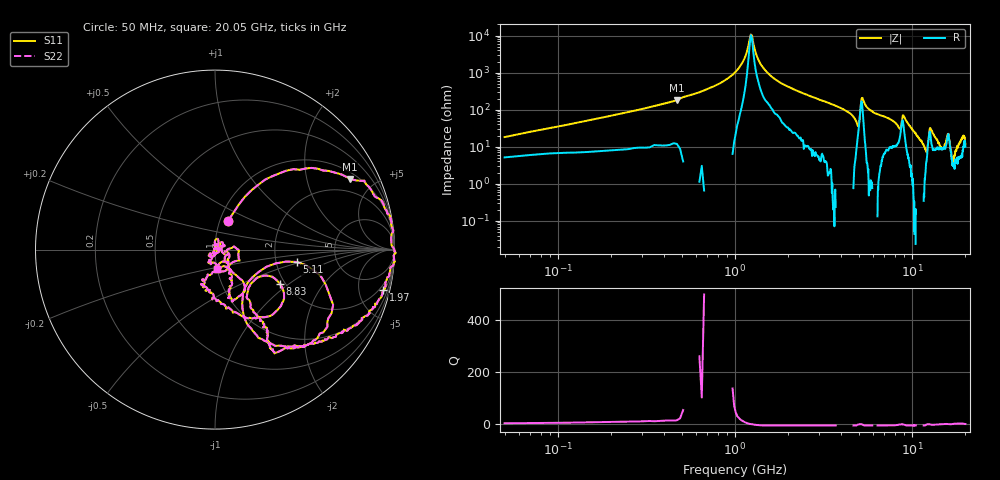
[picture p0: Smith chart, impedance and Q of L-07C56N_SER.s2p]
! P/N: L-07C56NJV4T
! Measured by Marlon
! Oct. 13, 2003
! Measure with Series-through-Fixture
#	mhz	s	ma	r	50
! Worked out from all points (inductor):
!   1001 points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, 50 MHz to 20.05 GHz, reference 50 ohm
!   read as one part in series: L = 52.9 nH near 150 MHz
!   highest Q = 13.1 at 470 MHz (marker M1), where L = 60.6 nH
!   self-resonance near 1.23 GHz
!   S11 on the Smith chart (normalised r, x): 50 MHz: 1.09, +0.36; 1.97 GHz: 1.22, -8.20; 5.11 GHz: 2.61, -0.45; 8.83 GHz: 1.88, -0.86; 20.05 GHz: 1.00, -0.22
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50  0.1759 65.5  0.9357 -9.1  0.9357 -9.1  0.1759 65.5
470  0.8484 27.6  0.4742 -58.5  0.4742 -58.5  0.8484 27.6
930  0.991 9.9  0.1318 -80.5  0.1318 -80.5  0.991 9.9
1230  0.9839 1.5  0.00915 -13.5  0.00915 -13.5  0.9839 1.5
1530  0.9982 -4.3  0.1007 76.7  0.1007 76.7  0.9982 -4.3
1970  0.9655 -13.6  0.2233 71.9  0.2233 71.9  0.9655 -13.6
3390  0.822 -36.3  0.5304 53.4  0.5304 53.4  0.822 -36.3
4870  0.3839 -65.8  0.7758 19.9  0.7758 19.9  0.3839 -65.8
5110  0.4594 -8.6  0.4963 -3.1  0.4963 -3.1  0.4594 -8.6
5530  0.7359 -46.5  0.5645 43.4  0.5645 43.4  0.7359 -46.5
6730  0.5787 -59.7  0.7577 28.9  0.7577 28.9  0.5787 -59.7
8830  0.41 -27.8  0.6314 9.8  0.6314 9.8  0.41 -27.8
10050  0.3038 -82.8  0.8892 13.6  0.8892 13.6  0.3038 -82.8
12170  0.1235 -90.0  0.8963 -1.9  0.8963 -1.9  0.1235 -90.0
12730  0.2895 -59.2  0.7577 4.4  0.7577 4.4  0.2895 -59.2
13390  0.2469 -71.8  0.8852 3.5  0.8852 3.5  0.2469 -71.8
15450  0.05566 -11.0  0.8911 -8.4  0.8911 -8.4  0.05566 -11.0
16030  0.1406 -20.3  0.7827 -7.6  0.7827 -7.6  0.1406 -20.3
16730  0.07356 -102.8  0.8815 -4.2  0.8815 -4.2  0.07356 -102.8
18030  0.01229 31.5  0.9255 -10.2  0.9255 -10.2  0.01229 31.5
18270  0.02522 -33.1  0.9303 -11.2  0.9303 -11.2  0.02522 -33.1
20050  0.1081 -82.9  0.8467 -13.6  0.8467 -13.6  0.1081 -82.9
